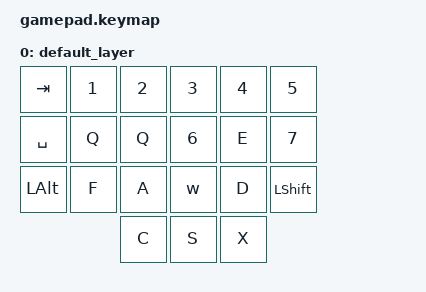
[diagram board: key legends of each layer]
/*
 * Copyright (c) 2020 ZMK Contributors
 *
 * SPDX-License-Identifier: MIT
 */

#include <behaviors.dtsi>
#include <dt-bindings/zmk/keys.h>
#include <dt-bindings/zmk/bt.h>
#include <dt-bindings/zmk/outputs.h>

#define DEF 0;
/ {
    keymap {
        compatible = "zmk,keymap";

        default_layer {
            bindings = <
                &kp TAB        &kp N1     &kp N2     &kp N3     &kp N4     &kp N5    
                &kp SPACE      &kp Q      &kp Q      &kp N6      &kp E      &kp N7      
                &kp LEFT_ALT   &kp F      &kp A      &kp w      &kp D      &kp LEFT_SHIFT     
                                          &kp C      &kp S      &kp X          
            
            >;
        };
            
    };
};
